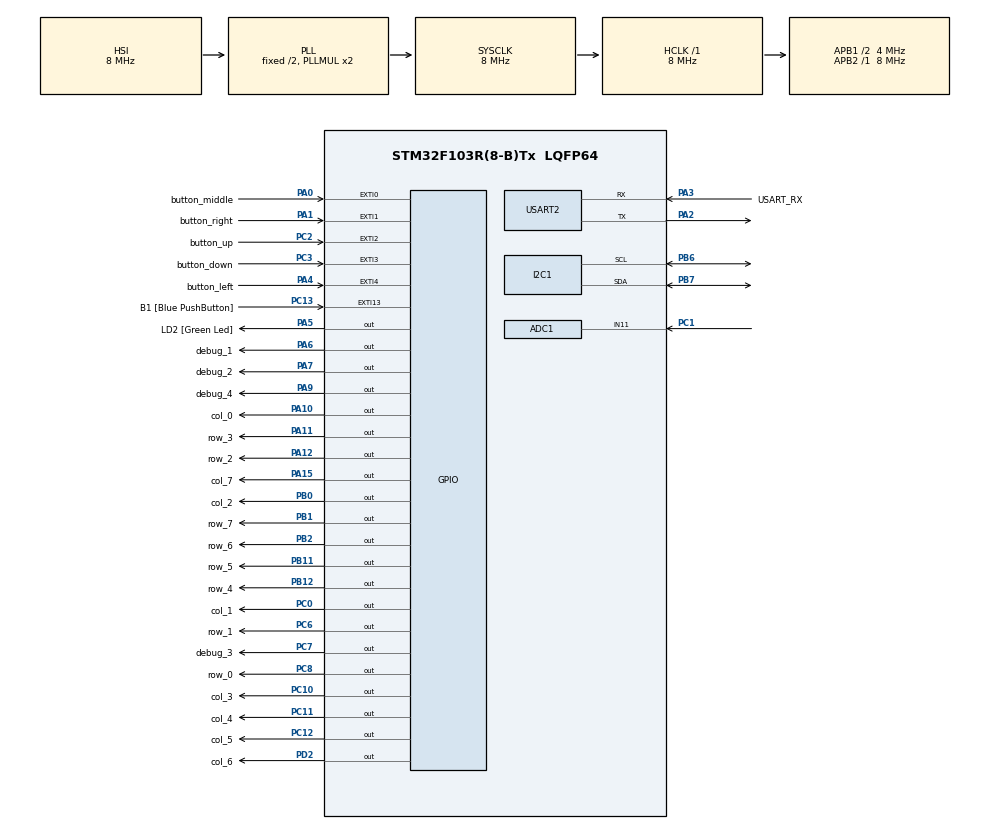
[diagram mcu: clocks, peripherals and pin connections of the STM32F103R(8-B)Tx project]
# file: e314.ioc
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ADC1.Channel-2\#ChannelRegularConversion=ADC_CHANNEL_11
ADC1.NbrOfConversionFlag=1
ADC1.Rank-2\#ChannelRegularConversion=1
ADC1.SamplingTime-2\#ChannelRegularConversion=ADC_SAMPLETIME_1CYCLE_5
ADC1.master=1
Mcu.Family=STM32F1
Mcu.Name=STM32F103R(8-B)Tx
Mcu.Package=LQFP64
NVIC.EXTI0_IRQn=true\:0\:0\:false\:false\:true\:true\:true
NVIC.EXTI15_10_IRQn=true\:0\:0\:false\:false\:true\:true\:true
NVIC.EXTI1_IRQn=true\:0\:0\:false\:false\:true\:true\:true
NVIC.EXTI2_IRQn=true\:0\:0\:false\:false\:true\:true\:true
NVIC.EXTI3_IRQn=true\:0\:0\:false\:false\:true\:true\:true
NVIC.EXTI4_IRQn=true\:0\:0\:false\:false\:true\:true\:true
NVIC.PriorityGroup=NVIC_PRIORITYGROUP_4
PA0-WKUP.GPIO_Label=button_middle
PA0-WKUP.GPIO_ModeDefaultEXTI=GPIO_MODE_IT_FALLING
PA0-WKUP.Signal=GPXTI0
PA1.GPIO_Label=button_right
PA1.GPIO_ModeDefaultEXTI=GPIO_MODE_IT_FALLING
PA1.Signal=GPXTI1
PA10.GPIO_Label=col_0
PA10.Signal=GPIO_Output
PA11.GPIO_Label=row_3
PA11.Signal=GPIO_Output
PA12.GPIO_Label=row_2
PA12.Signal=GPIO_Output
PA13.GPIO_Label=TMS
PA13.Mode=Serial_Wire
PA13.Signal=SYS_JTMS-SWDIO
PA14.GPIO_Label=TCK
PA14.Mode=Serial_Wire
PA14.Signal=SYS_JTCK-SWCLK
PA15.GPIO_Label=col_7
PA15.Signal=GPIO_Output
PA2.Mode=Asynchronous
PA2.Signal=USART2_TX
PA3.GPIO_Label=USART_RX
PA3.GPIO_Mode=GPIO_MODE_AF_PP
PA3.GPIO_PuPd=GPIO_NOPULL
PA3.GPIO_Speed=GPIO_SPEED_FREQ_LOW
PA3.Mode=Asynchronous
PA3.Signal=USART2_RX
PA4.GPIO_Label=button_left
PA4.GPIO_ModeDefaultEXTI=GPIO_MODE_IT_FALLING
PA4.Signal=GPXTI4
PA5.GPIO_Label=LD2 [Green Led]
PA5.GPIO_ModeDefaultOutputPP=GPIO_MODE_OUTPUT_PP
PA5.GPIO_PuPd=GPIO_NOPULL
PA5.GPIO_Speed=GPIO_SPEED_FREQ_LOW
PA5.Signal=GPIO_Output
PA6.GPIO_Label=debug_1
PA6.Signal=GPIO_Output
PA7.GPIO_Label=debug_2
PA7.Signal=GPIO_Output
PA9.GPIO_Label=debug_4
PA9.Signal=GPIO_Output
PB0.GPIO_Label=col_2
PB0.Signal=GPIO_Output
PB1.GPIO_Label=row_7
PB1.Signal=GPIO_Output
PB11.GPIO_Label=row_5
PB11.Signal=GPIO_Output
PB12.GPIO_Label=row_4
PB12.Signal=GPIO_Output
PB2.GPIO_Label=row_6
PB2.Signal=GPIO_Output
PB3.GPIO_Label=SWO
PB3.Signal=SYS_JTDO-TRACESWO
PB6.Mode=I2C
PB6.Signal=I2C1_SCL
PB7.Mode=I2C
PB7.Signal=I2C1_SDA
PC0.GPIO_Label=col_1
PC0.Signal=GPIO_Output
PC1.Signal=ADCx_IN11
PC10.GPIO_Label=col_3
PC10.Signal=GPIO_Output
PC11.GPIO_Label=col_4
PC11.Signal=GPIO_Output
PC12.GPIO_Label=col_5
PC12.Signal=GPIO_Output
PC13-TAMPER-RTC.GPIO_Label=B1 [Blue PushButton]
PC13-TAMPER-RTC.GPIO_PuPd=GPIO_NOPULL
PC13-TAMPER-RTC.Signal=GPXTI13
PC14-OSC32_IN.Mode=LSE-External-Oscillator
PC14-OSC32_IN.Signal=RCC_OSC32_IN
PC15-OSC32_OUT.Mode=LSE-External-Oscillator
PC15-OSC32_OUT.Signal=RCC_OSC32_OUT
PC2.GPIO_Label=button_up
PC2.GPIO_ModeDefaultEXTI=GPIO_MODE_IT_FALLING
PC2.Signal=GPXTI2
PC3.GPIO_Label=button_down
PC3.GPIO_ModeDefaultEXTI=GPIO_MODE_IT_FALLING
PC3.Signal=GPXTI3
PC6.GPIO_Label=row_1
PC6.Signal=GPIO_Output
PC7.GPIO_Label=debug_3
PC7.Signal=GPIO_Output
PC8.GPIO_Label=row_0
PC8.Signal=GPIO_Output
PD0-OSC_IN.Mode=HSE-External-Clock-Source
PD0-OSC_IN.Signal=RCC_OSC_IN
PD1-OSC_OUT.Mode=HSE-External-Clock-Source
PD1-OSC_OUT.Signal=RCC_OSC_OUT
PD2.GPIO_Label=col_6
PD2.Signal=GPIO_Output
ProjectManager.HeapSize=0x200
ProjectManager.StackSize=0x400
ProjectManager.TargetToolchain=STM32CubeIDE
RCC.AHBFreq_Value=8000000
RCC.APB1CLKDivider=RCC_HCLK_DIV2
RCC.APB1Freq_Value=4000000
RCC.APB1TimFreq_Value=8000000
RCC.APB2Freq_Value=8000000
RCC.APB2TimFreq_Value=8000000
RCC.HCLKFreq_Value=8000000
RCC.RTCClockSelection=RCC_RTCCLKSOURCE_LSE
RCC.SYSCLKFreq_VALUE=8000000
RCC.SYSCLKSource=RCC_SYSCLKSOURCE_PLLCLK
RCC.USBFreq_Value=8000000
SH.ADCx_IN11.0=ADC1_IN11,IN11
USART2.VirtualMode=VM_ASYNC
board=NUCLEO-F103RB

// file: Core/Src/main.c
/* USER CODE BEGIN Header */
/**
  ******************************************************************************
  * @file           : main.c
  * @brief          : Main program body
  ******************************************************************************
  * @attention
  *
  * <h2><center>&copy; Copyright (c) 2021 STMicroelectronics.
  * All rights reserved.</center></h2>
  *
  * This software component is licensed by ST under BSD 3-Clause license,
  * the "License"; You may not use this file except in compliance with the
  * License. You may obtain a copy of the License at:
  *                        opensource.org/licenses/BSD-3-Clause
  *
  ******************************************************************************
  */
/* USER CODE END Header */

#include "main.h"

/* USER CODE BEGIN Includes */
#include "matrix.h"
/* USER CODE END Includes */

ADC_HandleTypeDef hadc1;

I2C_HandleTypeDef hi2c1;

UART_HandleTypeDef huart2;

/* USER CODE BEGIN PV */

extern uint8_t ball_x_pos;
extern uint8_t ball_y_pos;

extern uint8_t bat_y_pos;
extern uint8_t bat_x_pos;

extern uint8_t selected_maze_num;
extern uint8_t display_matrix_ball_flag;
extern uint8_t display_matrix_end_flag;

extern uint8_t tennis_ball_velocity;
extern uint8_t tennis_ball_direction;

extern int imu_direction_to_move[2];
extern uint8_t imu_setup_flag;

uint32_t last_update_time = 0;
uint32_t maze_uart_last_update_time = 0;

// Status for matrix as finite state machine
extern enum Status matrixStatus;

// UART messages
uint8_t stdNum[10] = "$22738002\n";
uint8_t calibration[10] = "$1x______\n";
uint8_t maze[10] = "$3xxxxN__\n";
uint8_t tennis[10] = "$2xxxxxxN\n";

// I2C data
uint8_t i2cData[10];
HAL_StatusTypeDef res;

volatile int ax;
volatile int ay;
volatile int az;

/* USER CODE END PV */

void SystemClock_Config(void);
static void MX_GPIO_Init(void);
static void MX_USART2_UART_Init(void);
static void MX_ADC1_Init(void);
static void MX_I2C1_Init(void);
/* USER CODE BEGIN PFP */

void calibration_sequence();

void light_up_corners();
void transmit_ball_position();
void transmit_maze_uart();
void transmit_tennis_uart();

void read_imu();

/* USER CODE END PFP */

/* USER CODE BEGIN 0 */

// Run the calibration sequence
void calibration_sequence() {

	// Light up the columns
	for (uint8_t col = 0; col < 8; ++col) {
		light_up_LED(col, 0);
		light_up_LED(col, 1);
		light_up_LED(col, 2);
		light_up_LED(col, 3);
		light_up_LED(col, 4);
		light_up_LED(col, 5);
		light_up_LED(col, 6);
		light_up_LED(col, 7);

		// Update calibration message and transmit it
		calibration[2] = col + 48;
		HAL_UART_Transmit(&huart2, calibration, 10, 50);

		HAL_Delay(1000);
		reset_all_ports(0);
	}

}

void light_up_corners() {
		reset_all_ports(0);
		light_up_LED(0, 0);
		light_up_LED(0, 7);
		light_up_LED(7, 7);
		light_up_LED(7, 0);
}

// Read the value of the slider through ADC and
// update the bat y position
void read_slider() {
	HAL_ADC_Start(&hadc1);
	HAL_ADC_PollForConversion(&hadc1, 200);
	uint32_t slider_adc_val = HAL_ADC_GetValue(&hadc1);
	HAL_ADC_Stop(&hadc1);
	bat_y_pos = (uint8_t) ( 6 - slider_adc_val / 585.14 );
}

void transmit_ball_position() {
	maze[2] = ball_x_pos + 48;
	maze[3] = ball_y_pos + 48;
	HAL_UART_Transmit(&huart2, maze, 10, 50);
}

void transmit_maze_uart() {
	maze[2] = ball_x_pos + 48;
	maze[3] = ball_y_pos + 48;
	maze[4] = (display_matrix_ball_flag + 48);
	maze[5] = (display_matrix_end_flag + 48);
	HAL_UART_Transmit(&huart2, maze, 10, 50);
}

void transmit_tennis_uart() {
	tennis[2] = ball_x_pos + 48;
	tennis[3] = ball_x_pos + 48;
	tennis[4] = tennis_ball_velocity + 48;
	tennis[5] = tennis_ball_direction + 48;
	tennis[6] = bat_x_pos + 48;
	tennis[7] = bat_y_pos + 48;
	HAL_UART_Transmit(&huart2, tennis, 10, 50);
}

void imu_setup() {
	i2cData[0] = 0x20;
	i2cData[1] = 0x57;
	res = HAL_I2C_Master_Transmit(&hi2c1, 0x30, i2cData, 2, 10);
}

void read_imu() {
	i2cData[0] = 0xA8;
	res = HAL_I2C_Master_Transmit(&hi2c1, 0x30, i2cData, 1, 10);
	res = HAL_I2C_Master_Receive(&hi2c1, 0x30, i2cData, 4, 10);

	ax = *((int16_t*)i2cData);
	ay = *((int16_t*)(i2cData+2));
}
/* USER CODE END 0 */

int main(void)
{

  /* MCU Configuration--------------------------------------------------------*/

  /* Reset of all peripherals, Initializes the Flash interface and the Systick. */
  HAL_Init();

  /* Configure the system clock */
  SystemClock_Config();

  /* Initialize all configured peripherals */
  MX_GPIO_Init();
  MX_USART2_UART_Init();
  MX_ADC1_Init();
  MX_I2C1_Init();
  /* USER CODE BEGIN 2 */

  // Transmit student number on start-up
  HAL_UART_Transmit(&huart2, stdNum, 10, 1000);

  imu_setup();

  // Set matrix to display calibration first
  matrixStatus = CALIBRATION;
  reset_all_ports(0);

  /* USER CODE END 2 */

  /* Infinite loop */
  /* USER CODE BEGIN WHILE */
  while (1)
  {
	  // Occurs every 100ms
	  if (HAL_GetTick() - last_update_time >= 100) {
		  // Update last_update_time
		  last_update_time = HAL_GetTick();

		  if (matrixStatus == CALIBRATION) {
			  calibration_sequence();
			  matrixStatus = CORNERS;
		  }
		  else if (matrixStatus == CORNERS) {
			  // Light up the four corners
			  light_up_corners();
		  }
		  /*
		  else if (matrixStatus == BALL) {
			  transmit_ball_position();
			  reset_all_ports(1);
			  light_up_LED(ball_x_pos, ball_y_pos);

			  // Update y position from adc
			  read_slider();
		  }
		  */
		  else if (matrixStatus == MAZE_SELECTION) {

		  }
		  else if (matrixStatus == MAZE) {
			  load_preset_maze(selected_maze_num);
		  }

		  else if (matrixStatus == TENNIS) {
			  // Tennis UART transmit
			  transmit_tennis_uart();
		  }

		  // IMU
		  read_imu();
		  update_imu_direction(ax, ay);
		  if (matrixStatus == TENNIS) {
			  move_bat_imu();
		  }
		  else if (matrixStatus == MAZE) {
			  move_ball_maze_imu();
		  }

	  }

	  // Maze UART Transmit (every 300ms)
	  if ((HAL_GetTick() - maze_uart_last_update_time >= 300) && (matrixStatus == MAZE)) {
		  transmit_maze_uart();
		  maze_uart_last_update_time = HAL_GetTick();
	  }

    /* USER CODE END WHILE */

  }
}

void SystemClock_Config(void)
{
  RCC_OscInitTypeDef RCC_OscInitStruct = {0};
  RCC_ClkInitTypeDef RCC_ClkInitStruct = {0};
  RCC_PeriphCLKInitTypeDef PeriphClkInit = {0};

  /** Initializes the CPU, AHB and APB busses clocks
  */
  RCC_OscInitStruct.OscillatorType = RCC_OSCILLATORTYPE_HSI;
  RCC_OscInitStruct.HSIState = RCC_HSI_ON;
  RCC_OscInitStruct.HSICalibrationValue = RCC_HSICALIBRATION_DEFAULT;
  RCC_OscInitStruct.PLL.PLLState = RCC_PLL_ON;
  RCC_OscInitStruct.PLL.PLLSource = RCC_PLLSOURCE_HSI_DIV2;
  RCC_OscInitStruct.PLL.PLLMUL = RCC_PLL_MUL2;
  if (HAL_RCC_OscConfig(&RCC_OscInitStruct) != HAL_OK)
  {
    Error_Handler();
  }
  /** Initializes the CPU, AHB and APB busses clocks
  */
  RCC_ClkInitStruct.ClockType = RCC_CLOCKTYPE_HCLK|RCC_CLOCKTYPE_SYSCLK
                              |RCC_CLOCKTYPE_PCLK1|RCC_CLOCKTYPE_PCLK2;
  RCC_ClkInitStruct.SYSCLKSource = RCC_SYSCLKSOURCE_PLLCLK;
  RCC_ClkInitStruct.AHBCLKDivider = RCC_SYSCLK_DIV1;
  RCC_ClkInitStruct.APB1CLKDivider = RCC_HCLK_DIV2;
  RCC_ClkInitStruct.APB2CLKDivider = RCC_HCLK_DIV1;

  if (HAL_RCC_ClockConfig(&RCC_ClkInitStruct, FLASH_LATENCY_0) != HAL_OK)
  {
    Error_Handler();
  }
  PeriphClkInit.PeriphClockSelection = RCC_PERIPHCLK_ADC;
  PeriphClkInit.AdcClockSelection = RCC_ADCPCLK2_DIV2;
  if (HAL_RCCEx_PeriphCLKConfig(&PeriphClkInit) != HAL_OK)
  {
    Error_Handler();
  }
}

static void MX_ADC1_Init(void)
{

  ADC_ChannelConfTypeDef sConfig = {0};

  /** Common config
  */
  hadc1.Instance = ADC1;
  hadc1.Init.ScanConvMode = ADC_SCAN_DISABLE;
  hadc1.Init.ContinuousConvMode = DISABLE;
  hadc1.Init.DiscontinuousConvMode = DISABLE;
  hadc1.Init.ExternalTrigConv = ADC_SOFTWARE_START;
  hadc1.Init.DataAlign = ADC_DATAALIGN_RIGHT;
  hadc1.Init.NbrOfConversion = 1;
  if (HAL_ADC_Init(&hadc1) != HAL_OK)
  {
    Error_Handler();
  }
  /** Configure Regular Channel
  */
  sConfig.Channel = ADC_CHANNEL_11;
  sConfig.Rank = ADC_REGULAR_RANK_1;
  sConfig.SamplingTime = ADC_SAMPLETIME_1CYCLE_5;
  if (HAL_ADC_ConfigChannel(&hadc1, &sConfig) != HAL_OK)
  {
    Error_Handler();
  }

}

static void MX_I2C1_Init(void)
{

  hi2c1.Instance = I2C1;
  hi2c1.Init.ClockSpeed = 100000;
  hi2c1.Init.DutyCycle = I2C_DUTYCYCLE_2;
  hi2c1.Init.OwnAddress1 = 0;
  hi2c1.Init.AddressingMode = I2C_ADDRESSINGMODE_7BIT;
  hi2c1.Init.DualAddressMode = I2C_DUALADDRESS_DISABLE;
  hi2c1.Init.OwnAddress2 = 0;
  hi2c1.Init.GeneralCallMode = I2C_GENERALCALL_DISABLE;
  hi2c1.Init.NoStretchMode = I2C_NOSTRETCH_DISABLE;
  if (HAL_I2C_Init(&hi2c1) != HAL_OK)
  {
    Error_Handler();
  }

}

static void MX_USART2_UART_Init(void)
{

  huart2.Instance = USART2;
  huart2.Init.BaudRate = 115200;
  huart2.Init.WordLength = UART_WORDLENGTH_8B;
  huart2.Init.StopBits = UART_STOPBITS_1;
  huart2.Init.Parity = UART_PARITY_NONE;
  huart2.Init.Mode = UART_MODE_TX_RX;
  huart2.Init.HwFlowCtl = UART_HWCONTROL_NONE;
  huart2.Init.OverSampling = UART_OVERSAMPLING_16;
  if (HAL_UART_Init(&huart2) != HAL_OK)
  {
    Error_Handler();
  }

}

static void MX_GPIO_Init(void)
{
  GPIO_InitTypeDef GPIO_InitStruct = {0};

  /* GPIO Ports Clock Enable */
  __HAL_RCC_GPIOC_CLK_ENABLE();
  __HAL_RCC_GPIOD_CLK_ENABLE();
  __HAL_RCC_GPIOA_CLK_ENABLE();
  __HAL_RCC_GPIOB_CLK_ENABLE();

  /*Configure GPIO pin Output Level */
  HAL_GPIO_WritePin(GPIOC, col_1_Pin|row_1_Pin|debug_3_Pin|row_0_Pin
                          |col_3_Pin|col_4_Pin|col_5_Pin, GPIO_PIN_RESET);

  /*Configure GPIO pin Output Level */
  HAL_GPIO_WritePin(GPIOA, LD2_Pin|debug_1_Pin|debug_2_Pin|debug_4_Pin
                          |col_0_Pin|row_3_Pin|row_2_Pin|col_7_Pin, GPIO_PIN_RESET);

  /*Configure GPIO pin Output Level */
  HAL_GPIO_WritePin(GPIOB, col_2_Pin|row_7_Pin|row_6_Pin|row_5_Pin
                          |row_4_Pin, GPIO_PIN_RESET);

  /*Configure GPIO pin Output Level */
  HAL_GPIO_WritePin(col_6_GPIO_Port, col_6_Pin, GPIO_PIN_RESET);

  /*Configure GPIO pin : B1_Pin */
  GPIO_InitStruct.Pin = B1_Pin;
  GPIO_InitStruct.Mode = GPIO_MODE_IT_RISING;
  GPIO_InitStruct.Pull = GPIO_NOPULL;
  HAL_GPIO_Init(B1_GPIO_Port, &GPIO_InitStruct);

  /*Configure GPIO pins : col_1_Pin row_1_Pin debug_3_Pin row_0_Pin
                           col_3_Pin col_4_Pin col_5_Pin */
  GPIO_InitStruct.Pin = col_1_Pin|row_1_Pin|debug_3_Pin|row_0_Pin
                          |col_3_Pin|col_4_Pin|col_5_Pin;
  GPIO_InitStruct.Mode = GPIO_MODE_OUTPUT_PP;
  GPIO_InitStruct.Pull = GPIO_NOPULL;
  GPIO_InitStruct.Speed = GPIO_SPEED_FREQ_LOW;
  HAL_GPIO_Init(GPIOC, &GPIO_InitStruct);

  /*Configure GPIO pins : button_up_Pin button_down_Pin */
  GPIO_InitStruct.Pin = button_up_Pin|button_down_Pin;
  GPIO_InitStruct.Mode = GPIO_MODE_IT_FALLING;
  GPIO_InitStruct.Pull = GPIO_NOPULL;
  HAL_GPIO_Init(GPIOC, &GPIO_InitStruct);

  /*Configure GPIO pins : button_middle_Pin button_right_Pin button_left_Pin */
  GPIO_InitStruct.Pin = button_middle_Pin|button_right_Pin|button_left_Pin;
  GPIO_InitStruct.Mode = GPIO_MODE_IT_FALLING;
  GPIO_InitStruct.Pull = GPIO_NOPULL;
  HAL_GPIO_Init(GPIOA, &GPIO_InitStruct);

  /*Configure GPIO pins : LD2_Pin debug_1_Pin debug_2_Pin debug_4_Pin
                           col_0_Pin row_3_Pin row_2_Pin col_7_Pin */
  GPIO_InitStruct.Pin = LD2_Pin|debug_1_Pin|debug_2_Pin|debug_4_Pin
                          |col_0_Pin|row_3_Pin|row_2_Pin|col_7_Pin;
  GPIO_InitStruct.Mode = GPIO_MODE_OUTPUT_PP;
  GPIO_InitStruct.Pull = GPIO_NOPULL;
  GPIO_InitStruct.Speed = GPIO_SPEED_FREQ_LOW;
  HAL_GPIO_Init(GPIOA, &GPIO_InitStruct);

  /*Configure GPIO pins : col_2_Pin row_7_Pin row_6_Pin row_5_Pin
                           row_4_Pin */
  GPIO_InitStruct.Pin = col_2_Pin|row_7_Pin|row_6_Pin|row_5_Pin
                          |row_4_Pin;
  GPIO_InitStruct.Mode = GPIO_MODE_OUTPUT_PP;
  GPIO_InitStruct.Pull = GPIO_NOPULL;
  GPIO_InitStruct.Speed = GPIO_SPEED_FREQ_LOW;
  HAL_GPIO_Init(GPIOB, &GPIO_InitStruct);

  /*Configure GPIO pin : col_6_Pin */
  GPIO_InitStruct.Pin = col_6_Pin;
  GPIO_InitStruct.Mode = GPIO_MODE_OUTPUT_PP;
  GPIO_InitStruct.Pull = GPIO_NOPULL;
  GPIO_InitStruct.Speed = GPIO_SPEED_FREQ_LOW;
  HAL_GPIO_Init(col_6_GPIO_Port, &GPIO_InitStruct);

  /* EXTI interrupt init*/
  HAL_NVIC_SetPriority(EXTI0_IRQn, 0, 0);
  HAL_NVIC_EnableIRQ(EXTI0_IRQn);

  HAL_NVIC_SetPriority(EXTI1_IRQn, 0, 0);
  HAL_NVIC_EnableIRQ(EXTI1_IRQn);

  HAL_NVIC_SetPriority(EXTI2_IRQn, 0, 0);
  HAL_NVIC_EnableIRQ(EXTI2_IRQn);

  HAL_NVIC_SetPriority(EXTI3_IRQn, 0, 0);
  HAL_NVIC_EnableIRQ(EXTI3_IRQn);

  HAL_NVIC_SetPriority(EXTI4_IRQn, 0, 0);
  HAL_NVIC_EnableIRQ(EXTI4_IRQn);

  HAL_NVIC_SetPriority(EXTI15_10_IRQn, 0, 0);
  HAL_NVIC_EnableIRQ(EXTI15_10_IRQn);

}

void Error_Handler(void)
{
}

/************************ (C) COPYRIGHT STMicroelectronics *****END OF FILE****/
